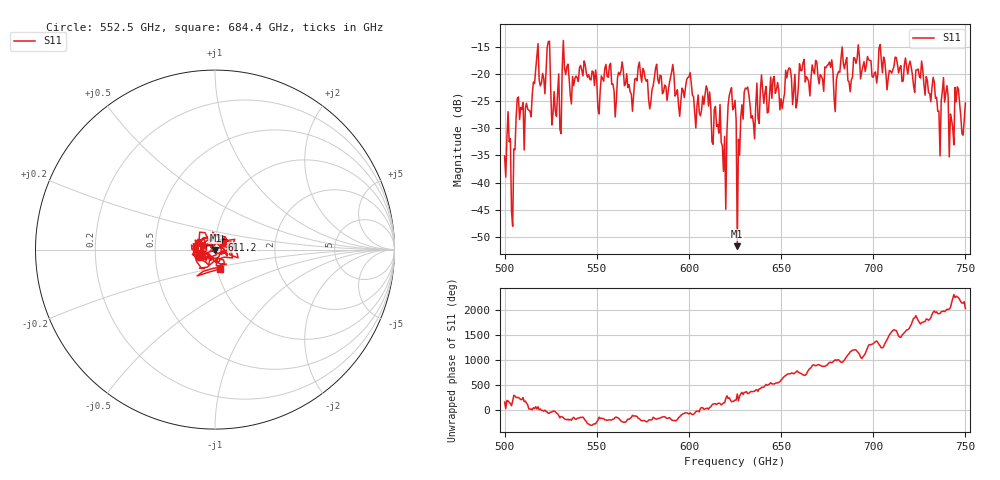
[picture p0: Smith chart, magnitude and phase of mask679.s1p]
!Created with skrf (http://scikit-rf.org).
# GHz S MA R 50.0
!freq magS11 angS11
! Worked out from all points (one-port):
!   401 points, 500 GHz to 750 GHz, reference 50 ohm
!   lowest |S11| = -51.7 dB at 626.2 GHz (marker M1), VSWR 1.01, Z = 50.2 - j0.148 ohm
!   |S11| at or under -10 dB: start of sweep to end of sweep
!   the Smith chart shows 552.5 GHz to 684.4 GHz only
!   S11 on the Smith chart (normalised r, x): 552.5 GHz: 0.83, -0.06; 611.2 GHz: 1.07, +0.12; 684.4 GHz: 1.04, -0.23
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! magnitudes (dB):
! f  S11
! 500 GHz  -35.1
! 504.4 GHz  -48.0
! 507.5 GHz  -24.2
! 513.8 GHz  -26.8
! 516.9 GHz  -19.1
! 523.8 GHz  -14.0
! 526.9 GHz  -23.2
! 531.2 GHz  -19.0
! 533.1 GHz  -20.1
! 552.5 GHz  -20.4
! 562.5 GHz  -20.2
! 593.8 GHz  -22.9
! 611.2 GHz  -23.3
! 618.8 GHz  -37.9
! 622.5 GHz  -23.2
! 625 GHz  -24.8
! 626.2 GHz  -51.7
! 631.2 GHz  -22.8
! 635 GHz  -29.0
! 656.2 GHz  -25.6
! 684.4 GHz  -19.0
! 687.5 GHz  -23.3
! 718.8 GHz  -20.0
! 735 GHz  -26.9
! 739.4 GHz  -23.5
! 742.5 GHz  -28.4
! 745.6 GHz  -22.4
! 750 GHz  -25.3
